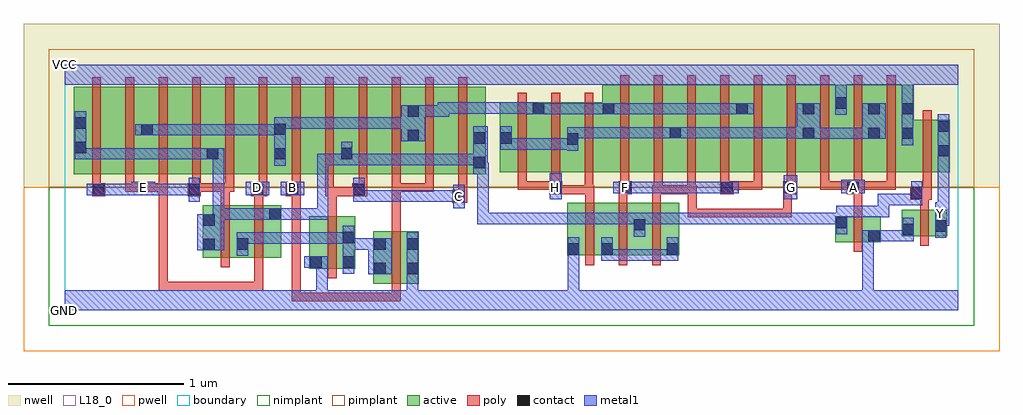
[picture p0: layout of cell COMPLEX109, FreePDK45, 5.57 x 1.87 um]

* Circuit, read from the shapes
.subckt COMPLEX109 A B C D E F G GND H VCC Y
M1 n1 E n2 VSUBS nfet w=0.3u l=0.05u
M2 n2 D n1 VSUBS nfet w=0.3u l=0.05u
M3 n1 C GND VSUBS nfet w=0.3u l=0.05u
M4 GND B n1 VSUBS nfet w=0.3u l=0.05u
M5 n3 H GND VSUBS nfet w=0.3u l=0.05u
M6 n2 F n3 VSUBS nfet w=0.3u l=0.05u
M7 n3 G n2 VSUBS nfet w=0.3u l=0.05u
M8 GND A n2 VSUBS nfet w=0.15u l=0.05u
M9 Y n2 GND VSUBS nfet w=0.15u l=0.05u
M10 n4 E n2 n5 pfet w=0.5u l=0.05u
M11 n6 D n4 n5 pfet w=0.5u l=0.05u
M12 n7 D n6 n5 pfet w=0.5u l=0.05u
M13 n2 E n7 n5 pfet w=0.5u l=0.05u
M14 n8 E n2 n5 pfet w=0.5u l=0.05u
M15 n6 D n8 n5 pfet w=0.5u l=0.05u
M16 n9 B n6 n5 pfet w=0.5u l=0.05u
M17 n2 C n9 n5 pfet w=0.5u l=0.05u
M18 n10 C n2 n5 pfet w=0.5u l=0.05u
M19 n6 B n10 n5 pfet w=0.5u l=0.05u
M20 n11 B n6 n5 pfet w=0.5u l=0.05u
M21 n2 C n11 n5 pfet w=0.5u l=0.05u
M22 n6 H n12 n5 pfet w=0.4u l=0.05u m=3
M23 n13 F n6 n5 pfet w=0.5u l=0.05u
M24 n12 G n13 n5 pfet w=0.5u l=0.05u
M25 n14 G n12 n5 pfet w=0.5u l=0.05u
M26 n6 F n14 n5 pfet w=0.5u l=0.05u
M27 n15 F n6 n5 pfet w=0.5u l=0.05u
M28 n12 G n15 n5 pfet w=0.5u l=0.05u
M29 VCC A n12 n5 pfet w=0.5u l=0.05u m=3
M30 Y n2 VCC n5 pfet w=0.3u l=0.05u
.ends

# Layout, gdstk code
import gdstk
lib = gdstk.Library(unit=1e-6, precision=1e-09)
def R(c, l, rs):  # rectangles x0, y0, x1, y1
    for r in rs: c.add(gdstk.rectangle(r[:2], r[2:], *l))
def A(c, l, x, y, w, h, nx, ny, dx, dy):  # array of equal rectangles
    R(c, l, [(x+i*dx, y+j*dy, x+i*dx+w, y+j*dy+h) for i in range(nx) for j in range(ny)])
active = (1, 0)
pwell = (2, 0)
nwell = (3, 0)
nimplant = (4, 0)
pimplant = (5, 0)
poly = (9, 0)
contact = (10, 0)
metal1 = (11, 0)
L18_0 = (18, 0)
boundary = (235, 0)

complex109 = lib.new_cell('COMPLEX109')
A(complex109, active, 1.037, 0.775, 0.23, 0.5, 3, 1, 0.38, 0)
A(complex109, active, 1.192, 0.775, 0.225, 0.5, 3, 1, 0.38, 0)
A(complex109, active, 3.067, 0.787, 0.225, 0.5, 3, 1, 0.38, 0)
A(complex109, active, 3.292, 0.787, 0.23, 0.5, 3, 1, 0.38, 0)
R(complex109, active, [(1.762,0.15,2.022,0.45), (1.947,0.15,2.022,0.45), (1.762,0.2,1.837,0.45), (1.397,0.237,1.472,0.537), (1.397,0.237,1.657,0.537), (1.582,0.237,1.657,0.537), (0.787,0.3,0.862,0.6), (0.787,0.3,1.052,0.6), (0.977,0.3,1.237,0.6), (2.867,0.312,2.942,0.612), (2.867,0.312,3.132,0.612), (3.057,0.312,3.317,0.612), (3.057,0.312,3.132,0.497), (3.242,0.312,3.507,0.612), (3.432,0.312,3.507,0.612), (0.977,0.332,1.052,0.437), (1.162,0.332,1.237,0.6), (3.242,0.345,3.317,0.525), (4.397,0.387,4.657,0.537), (4.397,0.387,4.472,0.537), (4.582,0.387,4.657,0.537), (4.777,0.422,5.037,0.572), (4.777,0.422,4.852,0.572), (4.962,0.442,5.037,0.572), (0.052,0.775,0.277,1.275), (0.052,0.775,0.157,1.2), (0.277,0.775,0.507,1.275), (0.432,0.775,0.657,1.275), (0.657,0.775,0.882,1.275), (0.807,0.775,1.037,1.275), (1.192,0.775,1.267,1.2), (2.177,0.775,2.402,1.275), (2.327,0.775,2.402,1.07), (2.482,0.787,2.742,1.187), (2.482,0.787,2.557,1.07), (2.667,0.787,2.937,1.187), (2.862,0.787,3.142,1.187), (4.207,0.787,4.467,1.287), (4.392,0.787,4.657,1.287), (4.582,0.787,4.847,1.287), (4.772,0.787,5.052,1.087), (4.772,0.787,4.847,1.187), (4.977,0.787,5.052,1.087), (0.432,0.807,0.507,1.2), (0.807,0.807,0.882,1.07), (1.572,0.807,1.647,1.07), (1.952,0.807,2.027,1.2), (3.447,0.807,3.522,1.07), (3.827,0.807,3.902,1.2), (4.207,0.807,4.282,1.2), (4.392,0.807,4.467,1.255), (4.582,0.807,4.657,1.2), (2.667,0.907,2.742,1.187), (2.862,0.907,2.937,1.07), (3.067,0.907,3.142,1.2)])
R(complex109, pwell, [(-0.235,-0.235,5.335,0.7)])
R(complex109, nwell, [(-0.235,0.7,5.335,1.635)])
R(complex109, nimplant, [(-0.09,-0.09,5.19,0.7)])
R(complex109, pimplant, [(-0.09,0.7,5.19,1.49)])
A(complex109, poly, 2.972, 0.257, 0.05, 0.41, 3, 1, 0.19, 0)
A(complex109, poly, 2.972, 0.617, 0.05, 0.095, 3, 1, 0.19, 0)
A(complex109, poly, 0.157, 0.675, 0.05, 0.095, 7, 1, 0.19, 0)
A(complex109, poly, 1.677, 0.675, 0.05, 0.095, 3, 1, 0.19, 0)
A(complex109, poly, 3.742, 0.687, 0.05, 0.095, 6, 1, 0.19, 0)
A(complex109, poly, 0.157, 0.72, 0.05, 0.61, 12, 1, 0.19, 0)
A(complex109, poly, 2.587, 0.732, 0.05, 0.51, 3, 1, 0.19, 0)
A(complex109, poly, 3.172, 0.732, 0.05, 0.61, 9, 1, 0.19, 0)
R(complex109, poly, [(1.297,0.05,1.347,0.1), (1.297,0.05,1.347,0.1), (1.297,0.05,1.347,0.1), (1.297,0.05,1.347,0.1), (1.297,0.05,1.347,0.1), (1.297,0.05,1.48,0.1), (1.297,0.05,1.347,0.7), (1.43,0.05,1.48,0.1), (1.43,0.05,1.48,0.1), (1.43,0.05,1.48,0.1), (1.43,0.05,1.757,0.1), (1.707,0.05,1.757,0.1), (1.707,0.05,1.757,0.1), (1.707,0.05,1.757,0.1), (1.707,0.05,1.917,0.1), (1.867,0.05,1.917,0.145), (1.867,0.05,1.917,0.1), (1.867,0.095,1.917,0.505), (0.537,0.112,0.587,0.162), (0.537,0.112,0.587,0.162), (0.537,0.112,0.587,0.162), (0.537,0.112,0.587,0.162), (0.537,0.112,0.587,0.162), (0.537,0.112,0.587,0.162), (0.537,0.112,0.587,0.162), (0.537,0.112,0.737,0.162), (0.537,0.112,0.587,0.725), (0.687,0.112,0.737,0.162), (0.687,0.112,0.737,0.162), (0.687,0.112,0.737,0.162), (0.687,0.112,0.98,0.162), (0.93,0.112,0.98,0.162), (0.93,0.112,0.98,0.162), (0.93,0.112,0.98,0.162), (0.93,0.112,1.132,0.162), (1.082,0.112,1.132,0.162), (1.082,0.112,1.132,0.295), (1.502,0.182,1.552,0.592), (0.892,0.245,0.942,0.655), (1.082,0.245,1.132,0.655), (4.502,0.332,4.552,0.592), (4.882,0.367,4.932,0.627), (1.867,0.455,1.917,0.725), (3.557,0.53,3.607,0.58), (3.557,0.53,3.607,0.58), (3.557,0.53,3.607,0.58), (3.557,0.53,3.607,0.712), (3.557,0.53,3.74,0.58), (3.69,0.53,3.74,0.58), (3.69,0.53,3.95,0.58), (3.9,0.53,3.95,0.58), (3.9,0.53,3.95,0.58), (3.9,0.53,3.95,0.58), (3.9,0.53,4.15,0.58), (4.1,0.53,4.15,0.58), (4.1,0.53,4.15,0.58), (4.1,0.53,4.15,0.58), (4.1,0.53,4.15,0.712), (1.502,0.542,1.552,0.7), (4.502,0.542,4.552,0.712), (4.882,0.577,4.932,0.68), (0.892,0.605,0.942,0.725), (1.082,0.605,1.132,0.7), (2.212,0.612,2.297,0.687), (4.825,0.63,4.947,0.705), (2.247,0.637,2.297,0.77), (0.157,0.65,0.232,0.725), (0.702,0.65,0.777,0.725), (1.062,0.65,1.157,0.725), (1.262,0.65,1.347,0.725), (1.297,0.65,1.347,0.7), (1.297,0.65,1.347,0.7), (1.297,0.65,1.347,0.7), (1.297,0.65,1.347,0.7), (1.487,0.65,1.537,0.77), (1.487,0.65,1.552,0.7), (1.502,0.65,1.552,0.7), (1.502,0.65,1.552,0.7), (1.502,0.65,1.692,0.7), (1.642,0.65,1.727,0.725), (4.897,0.655,4.947,0.782), (2.765,0.662,2.84,0.737), (2.79,0.662,3.017,0.712), (2.967,0.662,3.017,0.712), (2.967,0.662,3.017,0.712), (2.967,0.662,3.017,0.782), (2.967,0.662,3.022,0.712), (3.162,0.662,3.237,0.737), (3.352,0.662,3.412,0.712), (3.362,0.662,3.412,0.712), (3.362,0.662,3.412,0.712), (3.362,0.662,3.602,0.712), (3.362,0.662,3.412,0.782), (3.552,0.662,3.602,0.712), (3.552,0.662,3.602,0.712), (3.552,0.662,3.602,0.782), (3.552,0.662,3.607,0.712), (3.742,0.662,3.817,0.737), (4.1,0.662,4.15,0.712), (4.1,0.662,4.15,0.712), (4.1,0.662,4.175,0.737), (4.462,0.662,4.552,0.737), (0.347,0.675,0.397,0.725), (0.347,0.675,0.397,0.725), (0.347,0.675,0.397,0.725), (0.347,0.675,0.587,0.725), (0.537,0.675,0.587,0.725), (0.537,0.675,0.587,0.725), (0.537,0.675,0.587,0.725), (0.727,0.675,0.777,0.725), (0.727,0.675,0.777,0.725), (0.727,0.675,0.942,0.725), (0.892,0.675,0.967,0.725), (1.867,0.675,1.917,0.725), (1.867,0.675,2.107,0.725), (2.057,0.675,2.107,0.725), (2.057,0.675,2.107,0.725), (2.057,0.675,2.107,0.725), (2.587,0.687,2.637,0.782), (2.587,0.687,2.637,0.737), (2.587,0.687,2.637,0.737), (2.587,0.687,2.637,0.737), (2.587,0.687,2.815,0.737), (2.777,0.687,2.827,0.782), (3.172,0.687,3.222,0.782), (3.767,0.687,3.982,0.737), (3.932,0.687,3.982,0.737), (3.932,0.687,3.982,0.737), (3.932,0.687,3.982,0.737), (4.312,0.687,4.362,0.737), (4.312,0.687,4.512,0.737), (4.462,0.687,4.512,0.737), (4.462,0.687,4.512,0.737), (4.502,0.687,4.742,0.737), (4.692,0.687,4.742,0.737), (4.692,0.687,4.742,0.737), (4.692,0.687,4.742,0.737), (4.897,0.732,4.947,1.142)])
R(complex109, contact, [(1.767,0.205,1.832,0.27), (1.952,0.205,2.017,0.27), (1.402,0.242,1.467,0.307), (1.587,0.242,1.652,0.307), (2.872,0.317,2.937,0.382), (3.062,0.317,3.127,0.382), (3.437,0.317,3.502,0.382), (0.792,0.342,0.857,0.407), (0.982,0.345,1.047,0.41), (1.767,0.345,1.832,0.41), (1.952,0.345,2.017,0.41), (1.587,0.382,1.652,0.447), (4.587,0.392,4.652,0.457), (4.782,0.427,4.847,0.492), (4.967,0.447,5.032,0.512), (3.247,0.455,3.312,0.52), (4.402,0.467,4.467,0.532), (0.792,0.482,0.857,0.547), (1.167,0.517,1.232,0.582), (2.217,0.617,2.282,0.682), (4.83,0.635,4.895,0.7), (0.162,0.655,0.227,0.72), (0.707,0.655,0.772,0.72), (1.067,0.655,1.132,0.72), (1.267,0.655,1.332,0.72), (1.647,0.655,1.712,0.72), (2.77,0.667,2.835,0.732), (3.167,0.667,3.232,0.732), (3.747,0.667,3.812,0.732), (4.105,0.667,4.17,0.732), (4.467,0.667,4.532,0.732), (2.332,0.81,2.397,0.875), (0.812,0.86,0.877,0.925), (1.197,0.86,1.262,0.925), (1.577,0.862,1.642,0.927), (4.982,0.877,5.047,0.942), (0.057,0.895,0.122,0.96), (2.867,0.945,2.932,1.01), (2.332,0.95,2.397,1.015), (2.487,0.95,2.552,1.015), (1.957,0.965,2.022,1.03), (4.212,0.977,4.277,1.042), (4.587,0.977,4.652,1.042), (4.777,0.977,4.842,1.042), (3.452,0.98,3.517,1.045), (0.437,0.997,0.502,1.062), (1.197,1,1.262,1.065), (4.982,1.017,5.047,1.082), (0.057,1.035,0.122,1.1), (1.957,1.105,2.022,1.17), (2.672,1.117,2.737,1.182), (3.072,1.117,3.137,1.182), (3.832,1.117,3.897,1.182), (4.212,1.117,4.277,1.182), (4.587,1.117,4.652,1.182), (4.777,1.117,4.842,1.182), (4.397,1.15,4.462,1.215)])
R(complex109, metal1, [(0,0,5.1,0.115), (1.437,0.05,1.502,0.115), (1.437,0.05,1.502,0.115), (1.437,0.05,1.502,0.307), (1.952,0.05,2.017,0.115), (1.952,0.05,2.017,0.115), (1.952,0.05,2.017,0.115), (1.952,0.05,2.017,0.115), (1.952,0.05,2.017,0.235), (2.872,0.05,2.937,0.115), (2.872,0.05,2.937,0.115), (2.872,0.05,2.937,0.347), (4.552,0.05,4.617,0.115), (4.552,0.05,4.617,0.115), (4.552,0.05,4.617,0.115), (4.552,0.05,4.617,0.115), (4.552,0.05,4.617,0.115), (4.552,0.05,4.617,0.115), (4.552,0.05,4.617,0.457), (1.952,0.17,2.017,0.445), (1.732,0.205,1.867,0.41), (1.587,0.207,1.652,0.482), (1.367,0.242,1.502,0.307), (1.437,0.242,1.502,0.307), (1.437,0.242,1.502,0.307), (2.872,0.282,2.937,0.347), (2.872,0.282,2.937,0.347), (2.872,0.282,2.937,0.417), (3.062,0.282,3.127,0.417), (3.062,0.282,3.312,0.347), (3.247,0.282,3.312,0.347), (3.247,0.282,3.312,0.347), (3.247,0.282,3.312,0.347), (3.247,0.282,3.45,0.347), (3.385,0.282,3.45,0.347), (3.385,0.282,3.502,0.347), (3.437,0.282,3.502,0.417), (0.982,0.31,1.047,0.445), (0.757,0.342,0.91,0.547), (1.587,0.345,1.652,0.41), (1.587,0.345,1.652,0.41), (1.587,0.345,1.797,0.41), (0.982,0.38,1.047,0.445), (0.982,0.38,1.047,0.445), (0.982,0.38,1.295,0.445), (1.23,0.38,1.295,0.445), (1.23,0.38,1.367,0.445), (1.302,0.38,1.367,0.445), (1.302,0.38,1.505,0.445), (1.44,0.38,1.505,0.445), (1.44,0.38,1.505,0.445), (1.44,0.38,1.505,0.445), (1.44,0.38,1.652,0.445), (4.552,0.392,4.687,0.457), (4.622,0.392,4.705,0.457), (4.64,0.392,4.705,0.457), (4.64,0.392,4.847,0.457), (4.782,0.392,4.847,0.527), (4.967,0.412,5.032,0.547), (3.247,0.42,3.312,0.555), (4.402,0.432,4.467,0.567), (0.845,0.482,0.91,0.547), (0.845,0.482,0.91,0.582), (0.845,0.482,0.91,0.925), (4.967,0.482,5.032,0.547), (4.967,0.482,5.047,0.617), (2.355,0.49,2.42,0.555), (2.355,0.49,2.557,0.555), (2.355,0.49,2.42,0.84), (2.492,0.49,2.557,0.555), (2.492,0.49,2.695,0.555), (2.63,0.49,2.695,0.555), (2.63,0.49,2.695,0.555), (2.63,0.49,2.695,0.555), (2.63,0.49,2.91,0.555), (2.845,0.49,2.91,0.555), (2.845,0.49,2.91,0.555), (2.845,0.49,2.91,0.555), (2.845,0.49,3.047,0.555), (2.982,0.49,3.047,0.555), (2.982,0.49,3.172,0.555), (3.107,0.49,3.172,0.555), (3.107,0.49,3.312,0.555), (3.247,0.49,3.312,0.555), (3.247,0.49,3.312,0.555), (3.247,0.49,3.45,0.555), (3.385,0.49,3.45,0.555), (3.385,0.49,3.45,0.555), (3.385,0.49,3.45,0.555), (3.385,0.49,3.587,0.555), (3.522,0.49,3.587,0.555), (3.522,0.49,3.725,0.555), (3.66,0.49,3.725,0.555), (3.66,0.49,3.725,0.555), (3.66,0.49,3.725,0.555), (3.66,0.49,3.967,0.555), (3.902,0.49,3.967,0.555), (3.902,0.49,3.967,0.555), (3.902,0.49,3.967,0.555), (3.902,0.49,4.105,0.555), (4.04,0.49,4.105,0.555), (4.04,0.49,4.105,0.555), (4.04,0.49,4.105,0.555), (4.04,0.49,4.325,0.555), (4.26,0.49,4.325,0.555), (4.26,0.49,4.325,0.555), (4.26,0.49,4.325,0.555), (4.26,0.49,4.467,0.555), (4.402,0.502,4.467,0.567), (4.402,0.502,4.467,0.595), (0.845,0.517,1.047,0.582), (0.982,0.517,1.047,0.582), (0.982,0.517,1.047,0.582), (0.982,0.517,1.047,0.582), (0.982,0.517,1.197,0.582), (1.132,0.517,1.267,0.582), (1.202,0.517,1.267,0.582), (1.202,0.517,1.267,0.582), (1.202,0.517,1.505,0.582), (1.44,0.517,1.505,0.582), (1.44,0.517,1.505,0.892), (4.402,0.53,4.705,0.595), (4.64,0.53,4.705,0.595), (4.64,0.53,4.705,0.665), (4.982,0.552,5.047,0.907), (2.217,0.582,2.282,0.717), (4.64,0.6,4.705,0.665), (4.64,0.6,4.705,0.665), (4.64,0.6,4.705,0.665), (4.64,0.6,4.895,0.665), (4.83,0.6,4.895,0.665), (4.83,0.6,4.895,0.665), (4.83,0.6,4.895,0.735), (0.707,0.62,0.772,0.755), (1.647,0.62,1.712,0.755), (1.647,0.62,1.85,0.685), (1.785,0.62,1.85,0.685), (1.785,0.62,1.85,0.685), (1.785,0.62,1.85,0.685), (1.785,0.62,1.987,0.685), (1.922,0.62,1.987,0.685), (1.922,0.62,1.987,0.685), (1.922,0.62,1.987,0.685), (1.922,0.62,2.195,0.685), (2.13,0.62,2.195,0.685), (2.13,0.62,2.282,0.685), (2.767,0.632,2.837,0.78), (4.105,0.632,4.182,0.77), (0.127,0.655,0.262,0.72), (0.197,0.655,0.262,0.72), (0.197,0.655,0.262,0.72), (0.197,0.655,0.4,0.72), (0.335,0.655,0.4,0.72), (0.335,0.655,0.447,0.72), (0.382,0.655,0.517,0.732), (0.452,0.655,0.537,0.72), (0.472,0.655,0.537,0.72), (0.472,0.655,0.685,0.72), (0.62,0.655,0.685,0.72), (0.62,0.655,0.772,0.72), (1.032,0.655,1.167,0.732), (1.232,0.655,1.367,0.732), (3.132,0.667,3.267,0.732), (3.202,0.667,3.312,0.732), (3.247,0.667,3.312,0.732), (3.247,0.667,3.45,0.732), (3.385,0.667,3.45,0.732), (3.385,0.667,3.45,0.732), (3.385,0.667,3.45,0.732), (3.385,0.667,3.587,0.732), (3.522,0.667,3.587,0.732), (3.522,0.667,3.725,0.732), (3.66,0.667,3.725,0.732), (3.66,0.667,3.777,0.732), (3.712,0.667,3.847,0.732), (4.432,0.667,4.567,0.745), (2.332,0.775,2.415,1.05), (2.35,0.775,2.415,0.84), (2.35,0.775,2.42,0.84), (1.197,0.825,1.262,1.1), (1.44,0.827,1.505,0.892), (1.44,0.827,1.505,0.892), (1.44,0.827,1.505,0.892), (1.44,0.827,1.505,0.892), (1.44,0.827,1.505,0.892), (1.44,0.827,1.642,0.892), (1.577,0.827,1.642,0.892), (1.577,0.827,1.642,0.892), (1.577,0.827,1.642,0.962), (1.577,0.827,1.85,0.892), (1.785,0.827,1.85,0.892), (1.785,0.827,1.85,0.892), (1.785,0.827,1.85,0.892), (1.785,0.827,2.057,0.892), (1.992,0.827,2.057,0.892), (1.992,0.827,2.057,0.892), (1.992,0.827,2.057,0.892), (1.992,0.827,2.195,0.892), (2.13,0.827,2.195,0.892), (2.13,0.827,2.195,0.892), (2.13,0.827,2.195,0.892), (2.13,0.827,2.397,0.892), (4.982,0.842,5.047,1.117), (0.057,0.86,0.122,1.135), (0.057,0.86,0.262,0.925), (0.197,0.86,0.262,0.925), (0.197,0.86,0.262,0.925), (0.197,0.86,0.262,0.925), (0.197,0.86,0.4,0.925), (0.335,0.86,0.4,0.925), (0.335,0.86,0.537,0.925), (0.472,0.86,0.537,0.925), (0.472,0.86,0.537,0.925), (0.472,0.86,0.537,0.925), (0.472,0.86,0.685,0.925), (0.62,0.86,0.685,0.925), (0.62,0.86,0.685,0.925), (0.62,0.86,0.685,0.925), (0.62,0.86,0.842,0.925), (0.777,0.86,0.912,0.925), (0.845,0.86,0.91,0.925), (0.845,0.86,0.91,0.925), (2.867,0.91,2.932,1.045), (2.487,0.915,2.552,1.05), (2.487,0.915,2.695,0.98), (2.63,0.915,2.695,0.98), (2.63,0.915,2.695,0.98), (2.63,0.915,2.695,0.98), (2.63,0.915,2.91,0.98), (2.845,0.915,2.91,0.98), (2.845,0.915,2.932,0.98), (4.777,0.942,4.842,1.217), (1.922,0.965,2.057,1.17), (4.177,0.977,4.312,1.182), (4.247,0.977,4.312,1.042), (4.247,0.977,4.312,1.042), (4.247,0.977,4.462,1.042), (4.397,0.977,4.462,1.042), (4.397,0.977,4.462,1.042), (4.397,0.977,4.462,1.042), (4.397,0.977,4.617,1.042), (4.552,0.977,4.687,1.182), (2.867,0.98,3.06,1.045), (2.995,0.98,3.06,1.045), (2.995,0.98,3.172,1.045), (3.107,0.98,3.172,1.045), (3.107,0.98,3.31,1.045), (3.245,0.98,3.31,1.045), (3.245,0.98,3.31,1.045), (3.245,0.98,3.31,1.045), (3.245,0.98,3.45,1.045), (3.385,0.98,3.45,1.045), (3.385,0.98,3.482,1.045), (3.417,0.98,3.552,1.045), (3.487,0.98,3.587,1.045), (3.522,0.98,3.587,1.045), (3.522,0.98,3.69,1.045), (3.625,0.98,3.69,1.045), (3.625,0.98,3.83,1.045), (3.765,0.98,3.83,1.045), (3.765,0.98,3.967,1.045), (3.902,0.98,3.967,1.045), (3.902,0.98,3.967,1.045), (3.902,0.98,3.967,1.045), (3.902,0.98,4.105,1.045), (4.04,0.98,4.105,1.045), (4.04,0.98,4.105,1.045), (4.04,0.98,4.105,1.045), (4.04,0.98,4.242,1.045), (0.402,0.997,0.537,1.062), (0.472,0.997,0.547,1.062), (0.482,0.997,0.547,1.062), (0.482,0.997,0.685,1.062), (0.62,0.997,0.685,1.062), (0.62,0.997,0.685,1.062), (0.62,0.997,0.685,1.062), (0.62,0.997,0.91,1.062), (0.845,0.997,0.91,1.062), (0.845,0.997,0.91,1.062), (0.845,0.997,0.91,1.062), (0.845,0.997,1.05,1.062), (0.985,0.997,1.05,1.062), (0.985,0.997,1.05,1.062), (0.985,0.997,1.05,1.062), (0.985,0.997,1.262,1.062), (1.197,1.035,1.262,1.1), (1.197,1.035,1.262,1.1), (1.197,1.035,1.505,1.1), (1.44,1.035,1.505,1.1), (1.44,1.035,1.505,1.1), (1.44,1.035,1.505,1.1), (1.44,1.035,1.66,1.1), (1.595,1.035,1.66,1.1), (1.595,1.035,1.66,1.1), (1.595,1.035,1.66,1.1), (1.595,1.035,1.85,1.1), (1.785,1.035,1.85,1.1), (1.785,1.035,1.85,1.1), (1.785,1.035,1.85,1.1), (1.785,1.035,1.987,1.1), (1.992,1.105,2.057,1.17), (1.992,1.105,2.057,1.17), (1.992,1.105,2.195,1.17), (2.13,1.105,2.195,1.187), (4.397,1.115,4.462,1.25), (2.63,1.117,2.695,1.182), (2.63,1.117,2.772,1.182), (2.63,1.117,2.695,1.187), (2.707,1.117,2.91,1.182), (2.845,1.117,2.91,1.182), (2.845,1.117,2.91,1.182), (2.845,1.117,2.91,1.182), (2.845,1.117,3.047,1.182), (2.982,1.117,3.047,1.182), (2.982,1.117,3.102,1.182), (3.037,1.117,3.172,1.182), (3.107,1.117,3.197,1.182), (3.132,1.117,3.197,1.182), (3.132,1.117,3.312,1.182), (3.247,1.117,3.312,1.182), (3.247,1.117,3.45,1.182), (3.385,1.117,3.45,1.182), (3.385,1.117,3.45,1.182), (3.385,1.117,3.45,1.182), (3.385,1.117,3.587,1.182), (3.522,1.117,3.587,1.182), (3.522,1.117,3.725,1.182), (3.66,1.117,3.725,1.182), (3.66,1.117,3.725,1.182), (3.66,1.117,3.725,1.182), (3.66,1.117,3.862,1.182), (3.797,1.117,3.932,1.182), (2.13,1.122,2.415,1.187), (2.35,1.122,2.415,1.187), (2.35,1.122,2.415,1.187), (2.35,1.122,2.415,1.187), (2.35,1.122,2.552,1.187), (2.487,1.122,2.552,1.187), (2.487,1.122,2.695,1.187), (4.777,1.152,4.842,1.35), (4.397,1.185,4.462,1.35), (0,1.285,5.1,1.4)])
R(complex109, L18_0, [(0,0,5.1,0.115), (1.437,0.05,1.502,0.115), (1.437,0.05,1.502,0.115), (1.437,0.05,1.502,0.307), (1.952,0.05,2.017,0.115), (1.952,0.05,2.017,0.115), (1.952,0.05,2.017,0.115), (1.952,0.05,2.017,0.115), (1.952,0.05,2.017,0.235), (2.872,0.05,2.937,0.115), (2.872,0.05,2.937,0.115), (2.872,0.05,2.937,0.347), (4.552,0.05,4.617,0.115), (4.552,0.05,4.617,0.115), (4.552,0.05,4.617,0.115), (4.552,0.05,4.617,0.115), (4.552,0.05,4.617,0.115), (4.552,0.05,4.617,0.115), (4.552,0.05,4.617,0.457), (1.952,0.17,2.017,0.445), (1.367,0.242,1.502,0.307), (1.437,0.242,1.502,0.307), (1.437,0.242,1.502,0.307), (2.872,0.282,2.937,0.347), (2.872,0.282,2.937,0.347), (2.872,0.282,2.937,0.417), (4.552,0.392,4.687,0.457), (4.622,0.392,4.705,0.457), (4.64,0.392,4.705,0.457), (4.64,0.392,4.847,0.457), (4.782,0.392,4.847,0.527), (4.967,0.412,5.032,0.547), (4.967,0.482,5.032,0.547), (4.967,0.482,5.047,0.617), (4.967,0.517,5.032,0.582), (4.982,0.552,5.047,0.907), (2.217,0.582,2.282,0.717), (2.217,0.617,2.282,0.682), (0.707,0.62,0.772,0.755), (1.647,0.62,1.85,0.685), (1.647,0.62,1.712,0.755), (1.785,0.62,1.85,0.685), (1.785,0.62,1.85,0.685), (1.785,0.62,1.85,0.685), (1.785,0.62,1.987,0.685), (1.922,0.62,1.987,0.685), (1.922,0.62,1.987,0.685), (1.922,0.62,1.987,0.685), (1.922,0.62,2.195,0.685), (2.13,0.62,2.195,0.685), (2.13,0.62,2.282,0.685), (2.767,0.632,2.837,0.78), (4.105,0.632,4.182,0.77), (0.127,0.655,0.262,0.72), (0.197,0.655,0.262,0.72), (0.197,0.655,0.262,0.72), (0.197,0.655,0.4,0.72), (0.335,0.655,0.4,0.72), (0.335,0.655,0.447,0.72), (0.382,0.655,0.517,0.732), (0.452,0.655,0.537,0.72), (0.472,0.655,0.537,0.72), (0.472,0.655,0.685,0.72), (0.62,0.655,0.685,0.72), (0.62,0.655,0.772,0.72), (1.032,0.655,1.167,0.732), (1.232,0.655,1.367,0.732), (0.417,0.667,0.482,0.732), (1.067,0.667,1.132,0.732), (1.267,0.667,1.332,0.732), (2.767,0.667,2.832,0.732), (3.132,0.667,3.267,0.732), (3.167,0.667,3.232,0.732), (3.202,0.667,3.312,0.732), (3.247,0.667,3.312,0.732), (3.247,0.667,3.45,0.732), (3.385,0.667,3.45,0.732), (3.385,0.667,3.45,0.732), (3.385,0.667,3.45,0.732), (3.385,0.667,3.587,0.732), (3.522,0.667,3.587,0.732), (3.522,0.667,3.725,0.732), (3.66,0.667,3.725,0.732), (3.66,0.667,3.777,0.732), (3.712,0.667,3.847,0.732), (4.117,0.667,4.182,0.732), (4.432,0.667,4.567,0.745), (4.467,0.667,4.532,0.732), (4.982,0.842,5.047,1.117), (4.777,0.942,4.842,1.217), (4.397,1.115,4.462,1.25), (4.777,1.152,4.842,1.35), (4.397,1.185,4.462,1.35), (0,1.285,5.1,1.4)])
R(complex109, boundary, [(0,0,5.1,1.4)])
complex109.add(gdstk.Label('A', (4.5,0.7), layer=11, texttype=0))
complex109.add(gdstk.Label('B', (1.3,0.7), layer=11, texttype=0))
complex109.add(gdstk.Label('C', (2.25,0.65), layer=11, texttype=0))
complex109.add(gdstk.Label('D', (1.1,0.7), layer=11, texttype=0))
complex109.add(gdstk.Label('E', (0.45,0.7), layer=11, texttype=0))
complex109.add(gdstk.Label('F', (3.2,0.7), layer=11, texttype=0))
complex109.add(gdstk.Label('G', (4.15,0.7), layer=11, texttype=0))
complex109.add(gdstk.Label('H', (2.8,0.7), layer=11, texttype=0))
complex109.add(gdstk.Label('Y', (5,0.55), layer=11, texttype=0))
complex109.add(gdstk.Label('VCC', (0,1.4), layer=11, texttype=0))
complex109.add(gdstk.Label('GND', (0,0), layer=11, texttype=0))

lib.write_gds('COMPLEX109.gds')
